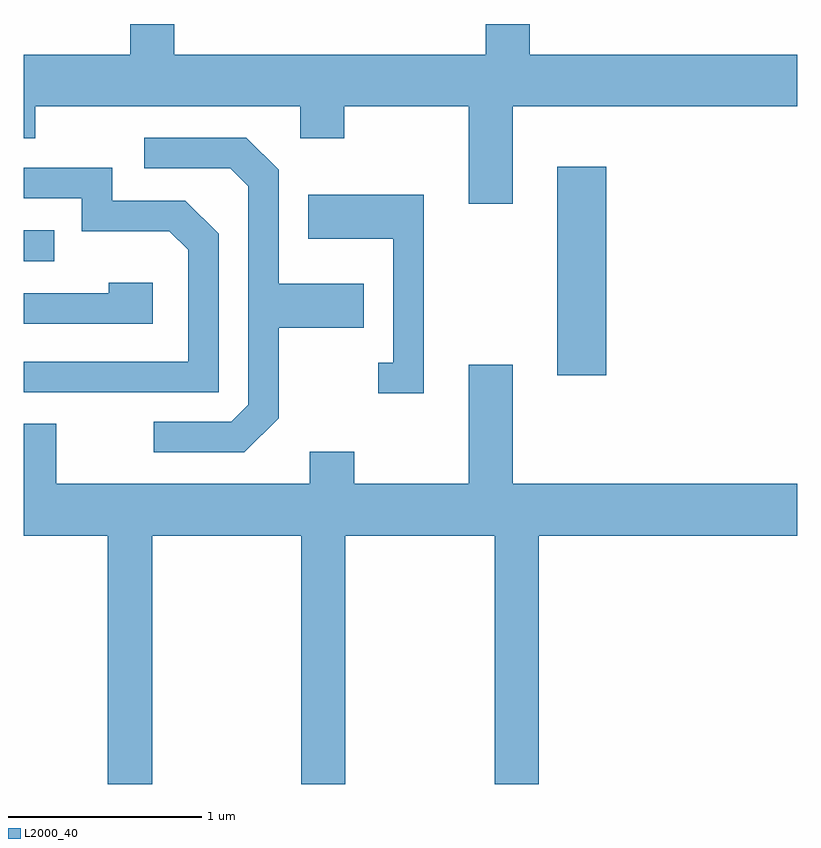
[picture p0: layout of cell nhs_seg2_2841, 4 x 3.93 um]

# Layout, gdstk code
import gdstk
lib = gdstk.Library(unit=1e-6, precision=1e-09)
def R(c, l, rs):  # rectangles x0, y0, x1, y1
    for r in rs: c.add(gdstk.rectangle(r[:2], r[2:], *l))
def P(c, l, *ps):  # polygons
    for p in ps: c.add(gdstk.Polygon(p, *l))
L2000_40 = (2000, 40)

nhs_seg2_2841 = lib.new_cell('nhs_seg2_2841')
R(nhs_seg2_2841, L2000_40, [(270.371,1097.986,270.624,1099.064), (267.611,1098.576,267.768,1098.734)])
P(nhs_seg2_2841, L2000_40, [(270.139,1099.376),(271.611,1099.376),(271.611,1099.644),(270.229,1099.644),(270.229,1099.802),(270.001,1099.802),(270.001,1099.644),(268.389,1099.644),(268.389,1099.802),(268.161,1099.802),(268.161,1099.644),(267.611,1099.644),(267.611,1099.211),(267.669,1099.211),(267.669,1099.376),(269.041,1099.376),(269.041,1099.211),(269.269,1099.211),(269.269,1099.376),(269.911,1099.376),(269.911,1098.871),(270.139,1098.871)],
  [(268.929,1097.764),(268.929,1098.231),(269.369,1098.231),(269.369,1098.459),(268.929,1098.459),(268.929,1099.047),(268.762,1099.214),(268.233,1099.214),(268.233,1099.056),(268.679,1099.056),(268.771,1098.964),(268.771,1097.832),(268.684,1097.744),(268.283,1097.744),(268.283,1097.586),(268.752,1097.586)],
  [(268.619,1098.717),(268.447,1098.889),(268.069,1098.889),(268.069,1099.059),(267.611,1099.059),(267.611,1098.901),(267.911,1098.901),(267.911,1098.731),(268.364,1098.731),(268.461,1098.634),(268.461,1098.054),(267.611,1098.054),(267.611,1097.896),(268.619,1097.896)],
  [(269.679,1098.919),(269.081,1098.919),(269.081,1098.691),(269.521,1098.691),(269.521,1098.049),(269.443,1098.049),(269.443,1097.891),(269.679,1097.891)],
  [(268.279,1098.464),(268.051,1098.464),(268.051,1098.409),(267.611,1098.409),(267.611,1098.251),(268.279,1098.251)],
  [(268.274,1097.156),(269.046,1097.156),(269.046,1095.871),(269.274,1095.871),(269.274,1097.156),(270.046,1097.156),(270.046,1095.871),(270.274,1095.871),(270.274,1097.156),(271.611,1097.156),(271.611,1097.424),(270.139,1097.424),(270.139,1098.039),(269.911,1098.039),(269.911,1097.424),(269.319,1097.424),(269.319,1097.589),(269.091,1097.589),(269.091,1097.424),(267.779,1097.424),(267.779,1097.734),(267.611,1097.734),(267.611,1097.156),(268.046,1097.156),(268.046,1095.871),(268.274,1095.871)])

lib.write_gds('nhs_seg2_2841.gds')
